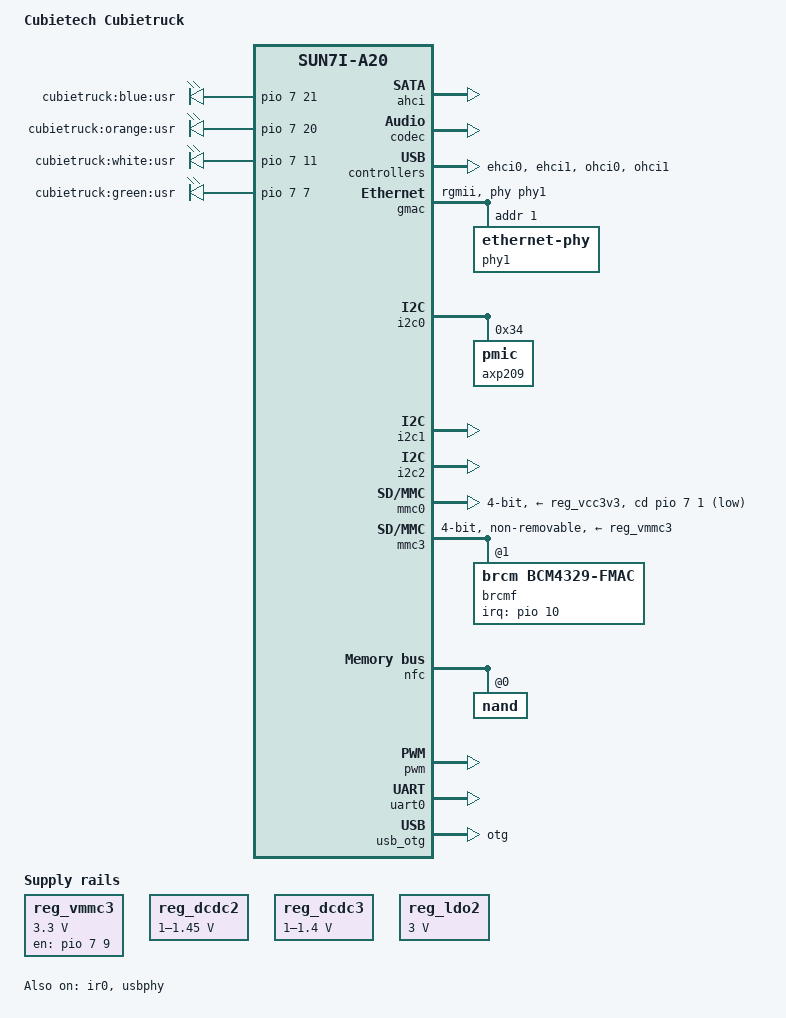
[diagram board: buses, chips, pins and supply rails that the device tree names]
/*
 * Copyright 2013 Oliver Schinagl
 *
 * Oliver Schinagl <oliver@schinagl.nl>
 *
 * This file is dual-licensed: you can use it either under the terms
 * of the GPL or the X11 license, at your option. Note that this dual
 * licensing only applies to this file, and not this project as a
 * whole.
 *
 *  a) This file is free software; you can redistribute it and/or
 *     modify it under the terms of the GNU General Public License as
 *     published by the Free Software Foundation; either version 2 of the
 *     License, or (at your option) any later version.
 *
 *     This file is distributed in the hope that it will be useful,
 *     but WITHOUT ANY WARRANTY; without even the implied warranty of
 *     MERCHANTABILITY or FITNESS FOR A PARTICULAR PURPOSE.  See the
 *     GNU General Public License for more details.
 *
 * Or, alternatively,
 *
 *  b) Permission is hereby granted, free of charge, to any person
 *     obtaining a copy of this software and associated documentation
 *     files (the "Software"), to deal in the Software without
 *     restriction, including without limitation the rights to use,
 *     copy, modify, merge, publish, distribute, sublicense, and/or
 *     sell copies of the Software, and to permit persons to whom the
 *     Software is furnished to do so, subject to the following
 *     conditions:
 *
 *     The above copyright notice and this permission notice shall be
 *     included in all copies or substantial portions of the Software.
 *
 *     THE SOFTWARE IS PROVIDED "AS IS", WITHOUT WARRANTY OF ANY KIND,
 *     EXPRESS OR IMPLIED, INCLUDING BUT NOT LIMITED TO THE WARRANTIES
 *     OF MERCHANTABILITY, FITNESS FOR A PARTICULAR PURPOSE AND
 *     NONINFRINGEMENT. IN NO EVENT SHALL THE AUTHORS OR COPYRIGHT
 *     HOLDERS BE LIABLE FOR ANY CLAIM, DAMAGES OR OTHER LIABILITY,
 *     WHETHER IN AN ACTION OF CONTRACT, TORT OR OTHERWISE, ARISING
 *     FROM, OUT OF OR IN CONNECTION WITH THE SOFTWARE OR THE USE OR
 *     OTHER DEALINGS IN THE SOFTWARE.
 */

/dts-v1/;
#include "sun7i-a20.dtsi"
#include "sunxi-common-regulators.dtsi"

#include <dt-bindings/gpio/gpio.h>
#include <dt-bindings/interrupt-controller/irq.h>
#include <dt-bindings/pinctrl/sun4i-a10.h>

/ {
	model = "Cubietech Cubietruck";
	compatible = "cubietech,cubietruck", "allwinner,sun7i-a20";

	aliases {
		serial0 = &uart0;
	};

	chosen {
		stdout-path = "serial0:115200n8";
	};

	leds {
		compatible = "gpio-leds";
		pinctrl-names = "default";
		pinctrl-0 = <&led_pins_cubietruck>;

		blue {
			label = "cubietruck:blue:usr";
			gpios = <&pio 7 21 GPIO_ACTIVE_HIGH>;
		};

		orange {
			label = "cubietruck:orange:usr";
			gpios = <&pio 7 20 GPIO_ACTIVE_HIGH>;
		};

		white {
			label = "cubietruck:white:usr";
			gpios = <&pio 7 11 GPIO_ACTIVE_HIGH>;
		};

		green {
			label = "cubietruck:green:usr";
			gpios = <&pio 7 7 GPIO_ACTIVE_HIGH>;
		};
	};

	reg_vmmc3: vmmc3 {
		compatible = "regulator-fixed";
		pinctrl-names = "default";
		pinctrl-0 = <&vmmc3_pin_cubietruck>;
		regulator-name = "vmmc3";
		regulator-min-microvolt = <3300000>;
		regulator-max-microvolt = <3300000>;
		enable-active-high;
		gpio = <&pio 7 9 GPIO_ACTIVE_HIGH>;
	};
};

&ahci {
	target-supply = <&reg_ahci_5v>;
	status = "okay";
};

&codec {
	routing =
		"Headphone Jack", "HP Left",
		"Headphone Jack", "HP Right";
	status = "okay";
};

&cpu0 {
	cpu-supply = <&reg_dcdc2>;
};

&ehci0 {
	status = "okay";
};

&ehci1 {
	status = "okay";
};

&gmac {
	pinctrl-names = "default";
	pinctrl-0 = <&gmac_pins_rgmii_a>;
	phy = <&phy1>;
	phy-mode = "rgmii";
	status = "okay";

	phy1: ethernet-phy@1 {
		reg = <1>;
	};
};

&i2c0 {
	pinctrl-names = "default";
	pinctrl-0 = <&i2c0_pins_a>;
	status = "okay";

	axp209: pmic@34 {
		reg = <0x34>;
		interrupt-parent = <&nmi_intc>;
		interrupts = <0 IRQ_TYPE_LEVEL_LOW>;
	};
};

&i2c1 {
	pinctrl-names = "default";
	pinctrl-0 = <&i2c1_pins_a>;
	status = "okay";
};

&i2c2 {
	pinctrl-names = "default";
	pinctrl-0 = <&i2c2_pins_a>;
	status = "okay";
};

&ir0 {
	pinctrl-names = "default";
	pinctrl-0 = <&ir0_rx_pins_a>;
	status = "okay";
};

&mmc0 {
	pinctrl-names = "default";
	pinctrl-0 = <&mmc0_pins_a>, <&mmc0_cd_pin_reference_design>;
	vmmc-supply = <&reg_vcc3v3>;
	bus-width = <4>;
	cd-gpios = <&pio 7 1 GPIO_ACTIVE_HIGH>; /* PH1 */
	cd-inverted;
	status = "okay";
};

&mmc3 {
	pinctrl-names = "default";
	pinctrl-0 = <&mmc3_pins_a>;
	vmmc-supply = <&reg_vmmc3>;
	bus-width = <4>;
	non-removable;
	status = "okay";

	brcmf: bcrmf@1 {
		reg = <1>;
		compatible = "brcm,bcm4329-fmac";
		interrupt-parent = <&pio>;
		interrupts = <10 IRQ_TYPE_LEVEL_LOW>; /* PH10 / EINT10 */
		interrupt-names = "host-wake";
	};
};

&mmc3_pins_a {
	/* AP6210 requires pull-up */
	allwinner,pull = <SUN4I_PINCTRL_PULL_UP>;
};

&nfc {
	pinctrl-names = "default";
	pinctrl-0 = <&nand_pins_a>, <&nand_cs0_pins_a>, <&nand_rb0_pins_a>;
	status = "okay";

	nand@0 {
		#address-cells = <2>;
		#size-cells = <2>;
		reg = <0>;
		allwinner,rb = <0>;
		nand-ecc-mode = "hw";
		nand-rnd-mode = "hw";

		boot0@0 {
			label = "boot0";
			reg = /bits/ 64 <0x0 0x200000>;
			nand-ecc-mode = "hw_syndrome";
			nand-rnd-mode = "hw";
			nand-randomizer-seeds = /bits/ 16 <0x4a80>;
		};

		boot0-rescue@200000 {
			label = "boot0-rescue";
			reg = /bits/ 64 <0x200000 0x200000>;
			nand-ecc-mode = "hw_syndrome";
			nand-rnd-mode = "hw";
			nand-randomizer-seeds = /bits/ 16 <0x4a80>;
		};

		main@200000 {
			label = "main";
			reg = /bits/ 64 <0x400000 0x1ffc00000>;
			nand-ecc-mode = "hw";
			nand-rnd-mode = "hw";
			nand-randomizer-seeds = /bits/ 16 <
				0x2b75 0x0bd0 0x5ca3 0x62d1 0x1c93 0x07e9 0x2162 0x3a72
				0x0d67 0x67f9 0x1be7 0x077d 0x032f 0x0dac 0x2716 0x2436
				0x7922 0x1510 0x3860 0x5287 0x480f 0x4252 0x1789 0x5a2d
				0x2a49 0x5e10 0x437f 0x4b4e 0x2f45 0x216e 0x5cb7 0x7130
				0x2a3f 0x60e4 0x4dc9 0x0ef0 0x0f52 0x1bb9 0x6211 0x7a56
				0x226d 0x4ea7 0x6f36 0x3692 0x38bf 0x0c62 0x05eb 0x4c55
				0x60f4 0x728c 0x3b6f 0x2037 0x7f69 0x0936 0x651a 0x4ceb
				0x6218 0x79f3 0x383f 0x18d9 0x4f05 0x5c82 0x2912 0x6f17
				0x6856 0x5938 0x1007 0x61ab 0x3e7f 0x57c2 0x542f 0x4f62
				0x7454 0x2eac 0x7739 0x42d4 0x2f90 0x435a 0x2e52 0x2064
				0x637c 0x66ad 0x2c90 0x0bad 0x759c 0x0029 0x0986 0x7126
				0x1ca7 0x1605 0x386a 0x27f5 0x1380 0x6d75 0x24c3 0x0f8e
				0x2b7a 0x1418 0x1fd1 0x7dc1 0x2d8e 0x43af 0x2267 0x7da3
				0x4e3d 0x1338 0x50db 0x454d 0x764d 0x40a3 0x42e6 0x262b
				0x2d2e 0x1aea 0x2e17 0x173d 0x3a6e 0x71bf 0x25f9 0x0a5d
				0x7c57 0x0fbe 0x46ce 0x4939 0x6b17 0x37bb 0x3e91 0x76db>;
		};
	};
};

&ohci0 {
	status = "okay";
};

&ohci1 {
	status = "okay";
};

&otg_sram {
	status = "okay";
};

&pio {
	vmmc3_pin_cubietruck: vmmc3_pin@0 {
		allwinner,pins = "PH9";
		allwinner,function = "gpio_out";
		allwinner,drive = <SUN4I_PINCTRL_10_MA>;
		allwinner,pull = <SUN4I_PINCTRL_NO_PULL>;
	};

	ahci_pwr_pin_cubietruck: ahci_pwr_pin@1 {
		allwinner,pins = "PH12";
		allwinner,function = "gpio_out";
		allwinner,drive = <SUN4I_PINCTRL_10_MA>;
		allwinner,pull = <SUN4I_PINCTRL_NO_PULL>;
	};

	led_pins_cubietruck: led_pins@0 {
		allwinner,pins = "PH7", "PH11", "PH20", "PH21";
		allwinner,function = "gpio_out";
		allwinner,drive = <SUN4I_PINCTRL_10_MA>;
		allwinner,pull = <SUN4I_PINCTRL_NO_PULL>;
	};

	usb0_vbus_pin_a: usb0_vbus_pin@0 {
		allwinner,pins = "PH17";
		allwinner,function = "gpio_out";
		allwinner,drive = <SUN4I_PINCTRL_10_MA>;
		allwinner,pull = <SUN4I_PINCTRL_NO_PULL>;
	};

	usb0_id_detect_pin: usb0_id_detect_pin@0 {
		allwinner,pins = "PH19";
		allwinner,function = "gpio_in";
		allwinner,drive = <SUN4I_PINCTRL_10_MA>;
		allwinner,pull = <SUN4I_PINCTRL_NO_PULL>;
	};

	usb0_vbus_detect_pin: usb0_vbus_detect_pin@0 {
		allwinner,pins = "PH22";
		allwinner,function = "gpio_in";
		allwinner,drive = <SUN4I_PINCTRL_10_MA>;
		allwinner,pull = <SUN4I_PINCTRL_NO_PULL>;
	};
};

&pwm {
	pinctrl-names = "default";
	pinctrl-0 = <&pwm0_pins_a>, <&pwm1_pins_a>;
	status = "okay";
};

&reg_ahci_5v {
	pinctrl-0 = <&ahci_pwr_pin_cubietruck>;
	gpio = <&pio 7 12 GPIO_ACTIVE_HIGH>;
	status = "okay";
};

#include "axp209.dtsi"

&reg_dcdc2 {
	regulator-always-on;
	regulator-min-microvolt = <1000000>;
	regulator-max-microvolt = <1450000>;
	regulator-name = "vdd-cpu";
};

&reg_dcdc3 {
	regulator-always-on;
	regulator-min-microvolt = <1000000>;
	regulator-max-microvolt = <1400000>;
	regulator-name = "vdd-int-dll";
};

&reg_ldo1 {
	regulator-name = "vdd-rtc";
};

&reg_ldo2 {
	regulator-always-on;
	regulator-min-microvolt = <3000000>;
	regulator-max-microvolt = <3000000>;
	regulator-name = "avcc";
};

&reg_usb0_vbus {
	pinctrl-0 = <&usb0_vbus_pin_a>;
	gpio = <&pio 7 17 GPIO_ACTIVE_HIGH>;
	status = "okay";
};

&reg_usb1_vbus {
	status = "okay";
};

&reg_usb2_vbus {
	status = "okay";
};

&uart0 {
	pinctrl-names = "default";
	pinctrl-0 = <&uart0_pins_a>;
	status = "okay";
};

&usb_otg {
	dr_mode = "otg";
	status = "okay";
};

&usbphy {
	pinctrl-names = "default";
	pinctrl-0 = <&usb0_id_detect_pin>, <&usb0_vbus_detect_pin>;
	usb0_id_det-gpios = <&pio 7 19 GPIO_ACTIVE_HIGH>; /* PH19 */
	usb0_vbus_det-gpios = <&pio 7 22 GPIO_ACTIVE_HIGH>; /* PH22 */
	usb0_vbus-supply = <&reg_usb0_vbus>;
	usb1_vbus-supply = <&reg_usb1_vbus>;
	usb2_vbus-supply = <&reg_usb2_vbus>;
	status = "okay";
};
